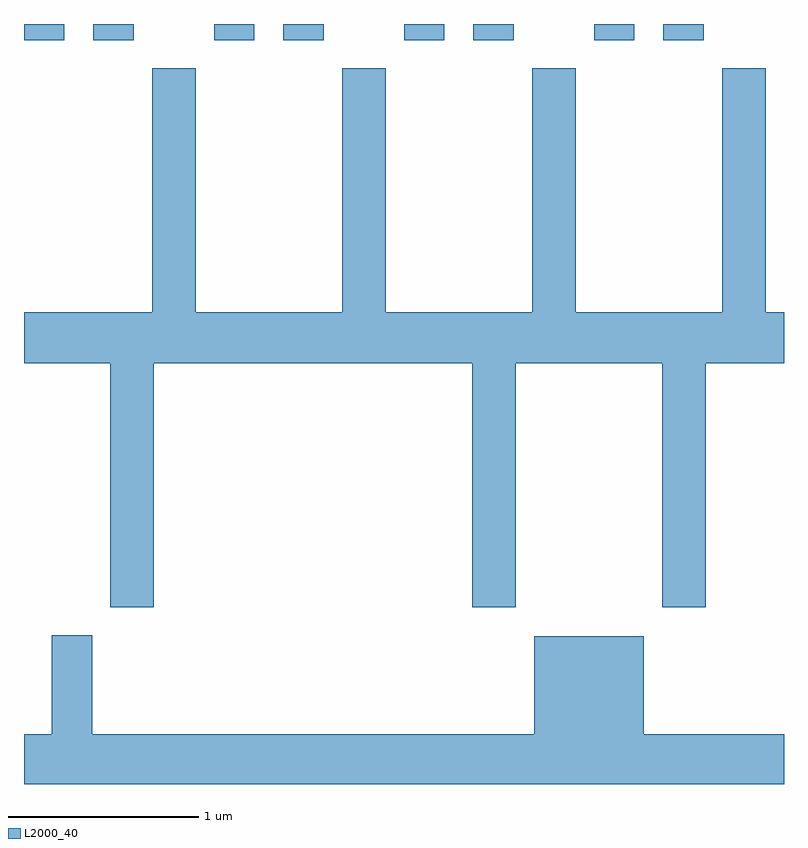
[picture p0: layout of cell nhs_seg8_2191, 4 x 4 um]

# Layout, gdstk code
import gdstk
lib = gdstk.Library(unit=1e-6, precision=1e-09)
def R(c, l, rs):  # rectangles x0, y0, x1, y1
    for r in rs: c.add(gdstk.rectangle(r[:2], r[2:], *l))
def P(c, l, *ps):  # polygons
    for p in ps: c.add(gdstk.Polygon(p, *l))
L2000_40 = (2000, 40)

nhs_seg8_2191 = lib.new_cell('nhs_seg8_2191')
R(nhs_seg8_2191, L2000_40, [(249.611,1920.256,249.824,1920.342), (249.976,1920.256,250.189,1920.342), (250.611,1920.256,250.824,1920.342), (250.976,1920.256,251.189,1920.342), (251.611,1920.256,251.824,1920.342), (251.976,1920.256,252.189,1920.342), (252.611,1920.256,252.824,1920.342), (252.976,1920.256,253.189,1920.342)])
P(nhs_seg8_2191, L2000_40, [(250.294,1918.556),(251.971,1918.556),(251.971,1917.271),(252.199,1917.271),(252.199,1918.556),(252.971,1918.556),(252.971,1917.271),(253.199,1917.271),(253.199,1918.556),(253.611,1918.556),(253.611,1918.824),(253.514,1918.824),(253.514,1920.109),(253.286,1920.109),(253.286,1918.824),(252.514,1918.824),(252.514,1920.109),(252.286,1920.109),(252.286,1918.824),(251.514,1918.824),(251.514,1920.109),(251.286,1920.109),(251.286,1918.824),(250.514,1918.824),(250.514,1920.109),(250.286,1920.109),(250.286,1918.824),(249.611,1918.824),(249.611,1918.556),(250.066,1918.556),(250.066,1917.271),(250.294,1917.271)],
  [(253.611,1916.604),(252.874,1916.604),(252.874,1917.119),(252.296,1917.119),(252.296,1916.604),(249.969,1916.604),(249.969,1917.124),(249.756,1917.124),(249.756,1916.604),(249.611,1916.604),(249.611,1916.342),(253.611,1916.342)])

lib.write_gds('nhs_seg8_2191.gds')
